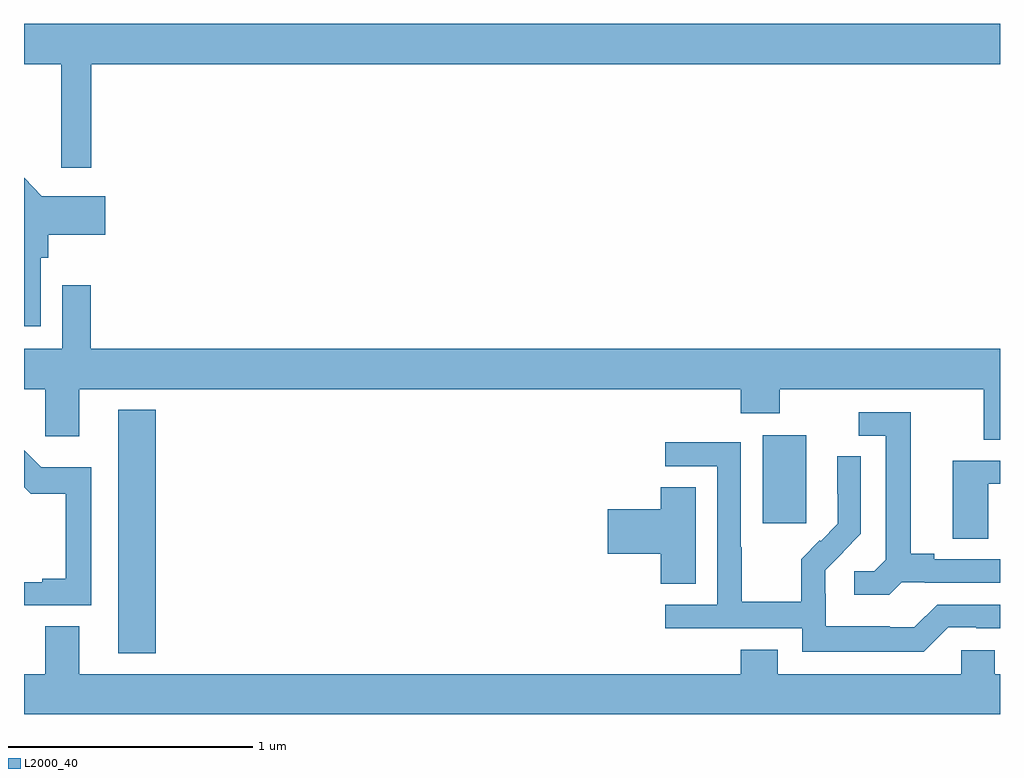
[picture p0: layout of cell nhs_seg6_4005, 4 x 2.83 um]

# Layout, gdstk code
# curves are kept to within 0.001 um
import gdstk
lib = gdstk.Library(unit=1e-6, precision=1e-09)
def R(c, l, rs):  # rectangles x0, y0, x1, y1
    for r in rs: c.add(gdstk.rectangle(r[:2], r[2:], *l))
def P(c, l, *ps):  # polygons
    for p in ps: c.add(gdstk.Polygon(p, *l))
L2000_40 = (2000, 40)

nhs_seg6_4005 = lib.new_cell('nhs_seg6_4005')
R(nhs_seg6_4005, L2000_40, [(347.387,964.901,347.54,965.899), (350.027,965.433,350.206,965.794)])
P(nhs_seg6_4005, L2000_40, [(347.276,967.316),(351,967.316),(351,967.48),(347,967.48),(347,967.316),(347.153,967.316),(347.153,966.891),(347.276,966.891)],
  [(347.068,966.522),(347.099,966.522),(347.099,966.617),(347.332,966.617),(347.332,966.775),(347.073,966.775),(347,966.849),(347,966.242),(347.068,966.242)],
  [(351,966.148),(347.273,966.148),(347.273,966.409),(347.157,966.409),(347.157,966.148),(347,966.148),(347,965.984),(347.088,965.984),(347.088,965.79),(347.227,965.79),(347.227,965.984),(349.937,965.984),(349.937,965.885),(350.097,965.885),(350.097,965.984),(350.933,965.984),(350.933,965.776),(351,965.776)],
  [(350.598,965.193),(350.692,965.193),(350.692,965.19),(351,965.19),(351,965.286),(350.731,965.286),(350.731,965.309),(350.635,965.309),(350.635,965.889),(350.421,965.889),(350.421,965.793),(350.531,965.793),(350.531,965.285),(350.484,965.238),(350.403,965.238),(350.403,965.141),(350.546,965.141)],
  [(350.787,965.007),(350.903,965.007),(350.903,965.004),(351,965.004),(351,965.1),(350.742,965.1),(350.649,965.007),(350.549,965.007),(350.549,965.011),(350.286,965.011),(350.286,965.145),(350.284,965.145),(350.284,965.242),(350.43,965.39),(350.43,965.708),(350.334,965.708),(350.334,965.554),(350.336,965.554),(350.336,965.432),(350.265,965.361),(350.262,965.364),(350.185,965.287),(350.185,965.113),(349.941,965.113),(349.941,965.336),(349.938,965.336),(349.938,965.766),(349.629,965.766),(349.629,965.667),(349.842,965.667),(349.842,965.1),(349.629,965.1),(349.629,965.004),(350.19,965.004),(350.19,964.907),(350.687,964.907)],
  [(347.275,965.664),(347.07,965.664),(347,965.734),(347,965.582),(347.027,965.555),(347.171,965.555),(347.171,965.206),(347.075,965.206),(347.075,965.193),(347,965.193),(347,965.097),(347.275,965.097)],
  [(350.952,965.595),(351,965.595),(351,965.691),(350.807,965.691),(350.807,965.371),(350.952,965.371)],
  [(349.753,965.582),(349.61,965.582),(349.61,965.492),(349.392,965.492),(349.392,965.309),(349.61,965.309),(349.61,965.185),(349.753,965.185)],
  [(351,964.816),(350.979,964.816),(350.979,964.914),(350.841,964.914),(350.841,964.816),(350.089,964.816),(350.089,964.915),(349.937,964.915),(349.937,964.816),(347.227,964.816),(347.227,965.011),(347.087,965.011),(347.087,964.816),(347,964.816),(347,964.652),(351,964.652)])

lib.write_gds('nhs_seg6_4005.gds')
